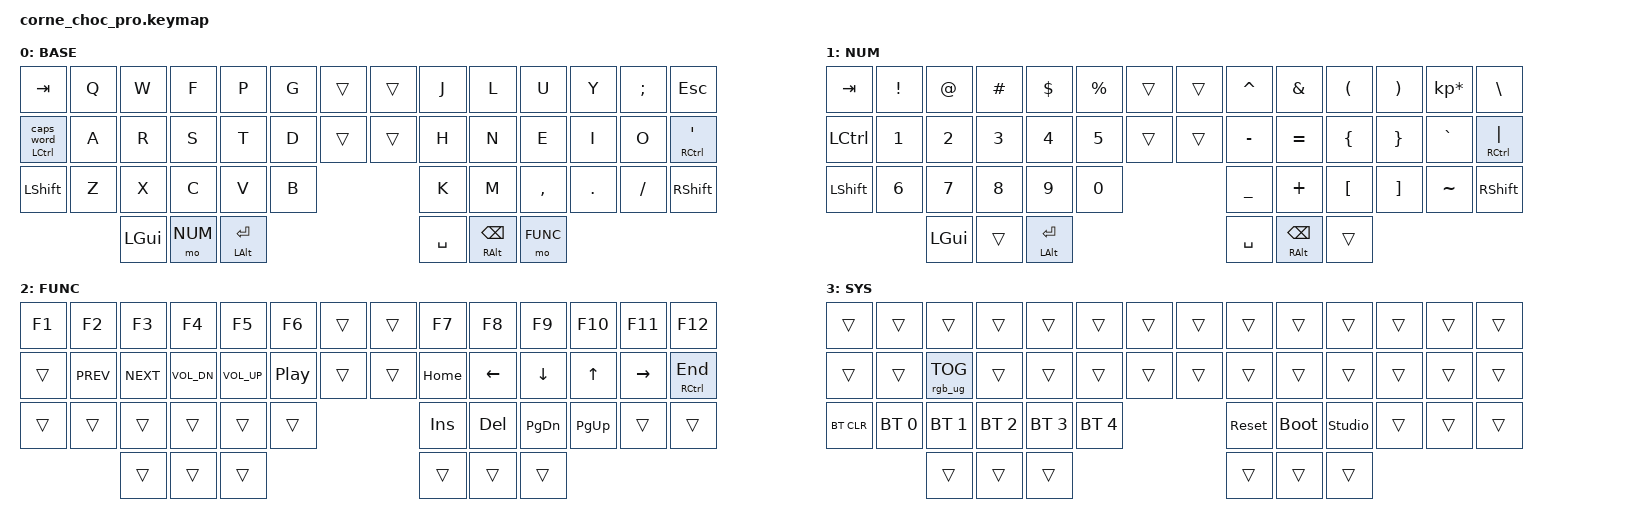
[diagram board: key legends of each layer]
/*
 * Copyright (c) 2020 The ZMK Contributors
 *
 * SPDX-License-Identifier: MIT
 */

#include <behaviors.dtsi>
#include <dt-bindings/zmk/keys.h>
#include <dt-bindings/zmk/bt.h>
#include <dt-bindings/zmk/rgb.h>

#define BASE 0
#define NUM 1
#define FUNC 2
#define SYS 3

/ {
        conditional_layers {
        compatible = "zmk,conditional-layers";
        tri_layer {
            if-layers = <NUM FUNC>;
            then-layer = <SYS>;
         };
        };

        behaviors {
          tp: tap_preferred {
                compatible = "zmk,behavior-hold-tap";
                label = "TAP_PREFERRED";
                #binding-cells = <2>;
                tapping-term-ms = <220>;
                quick-tap-ms = <150>;
                flavor = "tap-preferred";
                bindings = <&kp>, <&kp>;
                };
         ctrl_caps: ctrl_caps_word {
                compatible = "zmk,behavior-hold-tap";
                #binding-cells = <2>;
                tapping-term-ms = <220>;
                quick-tap-ms = <150>;
                flavor = "tap-preferred";
                bindings = <&kp>, <&caps_word>;
                 }; 
        };
        
        keymap {
                compatible = "zmk,keymap";

                base_layer {
                        label = "BASE";
// -----------------------------------------------------------------------------------------
// |  TAB      |  Q  |  W  |  F  |  P  |    G    | None | None  |    J    |    L     |  U  |  Y  |  ;  |  ESC    |
// | CTRL/CAPS |  A  |  R  |  S  |  T  |    D    | None | None  |    H    |    N     |  E  |  I  |  O  | RCTRL/' |
// | SHFT      |  Z  |  X  |  C  |  V  |    B    |              |    K    |    M     |  ,  |  .  |  /  | RSHFT   |
//                         | GUI | LWR | ALT/ENT |              |   SPC   | ALT/BKSP | RSE |
                        bindings = <
   &kp TAB            &kp Q &kp W &kp F    &kp P   &kp G         &trans  &trans   &kp J        &kp L          &kp U     &kp Y   &kp SEMI    &kp ESC
   &ctrl_caps LCTRL 0 &kp A &kp R &kp S    &kp T   &kp D         &trans  &trans   &kp H        &kp N          &kp E     &kp I   &kp O       &tp RCTRL SQT
   &kp LSHFT          &kp Z &kp X &kp C    &kp V   &kp B                          &kp K        &kp M          &kp COMMA &kp DOT &kp FSLH    &kp RSHFT
                              &kp LGUI &mo NUM &tp LALT RET                   &kp SPACE    &tp RALT BSPC  &mo FUNC
                        >;
                };

                num_layer {
                        label = "NUM";
// -----------------------------------------------------------------------------------------
// |  TAB |  !  |  @  |  #  |  $  |    %    | None | None |    ^    |    &    |  (  |  )  |  *  |      \    |
// | CTRL |  1  |  2  |  3  |  4  |    5    | None | None |    -    |    =    |  {  |  }  |  `  | RCTRL/"|" |
// | SHFT |  6  |  7  |  8  |  9  |    0    |             |    _    |    +    |  [  |  ]  |  ~  |    RSHFT  |
//                    | GUI |     | ALT/ENT |             |   SPC   | ALT/BKSP|     |
                        bindings = <
   &kp TAB   &kp EXCL &kp AT &kp HASH &kp DLLR &kp PRCNT     &trans  &trans  &kp CARET    &kp AMPS       &kp LPAR &kp RPAR &kp KP_MULTIPLY &kp BSLH
   &kp LCTRL &kp N1   &kp N2 &kp N3   &kp N4   &kp N5        &trans  &trans  &kp MINUS    &kp EQUAL      &kp LBRC &kp RBRC &kp GRAVE       &tp RCTRL PIPE
   &kp LSHFT &kp N6   &kp N7 &kp N8   &kp N9   &kp N0                        &kp UNDER    &kp PLUS       &kp LBKT &kp RBKT &kp TILDE       &kp RSHFT
                             &kp LGUI &trans   &tp LALT RET                  &kp SPACE    &tp RALT BSPC  &trans
                        >;
                };

                func_layer {
                        label = "FUNC";
// -----------------------------------------------------------------------------------------
// |   F1  |  F2  |  F3  |  F4   |  F5   | F6         |  None | None  |  F7  |  F8   |   F9  |  F10  |  F11  |  F12        |
// |       | Prev | Next | Vol - | Vol + | Play/Pause |  None | None  | HOME |  LFT  |  DWN  |  UP   |  RGT  |  RCTRL/END  |
// |       |      |      |       |       |            |               | INS  |  DEL  | PG_DN | PG_UP |       |             |
//                       |       |       |            |               |      |       |       |
                        bindings = <
   &kp F1     &kp F2        &kp F3       &kp F4       &kp F5       &kp F6     &trans  &trans   &kp F7   &kp F8   &kp F9    &kp F10   &kp F11   &kp F12
   &trans     &kp C_PREV    &kp C_NEXT   &kp C_VOL_DN &kp C_VOL_UP &kp C_PP   &trans  &trans   &kp HOME &kp LEFT &kp DOWN  &kp UP    &kp RIGHT &tp RCTRL END
   &trans     &trans        &trans       &trans       &trans       &trans                      &kp INS  &kp DEL  &kp PG_DN &kp PG_UP &trans    &trans
                          	         &trans       &trans       &trans                          &trans   &trans   &trans
                        >;
                };

                sys_layer {
                        label = "SYS";
// -----------------------------------------------------------------------------------------
// |       |      |      |       |       |            | None | None  |      |       |       |       |       |       |
// |       |      | RGB  |       |       |            | None | None  |      |       |       |       |       |       |
// | BTCLR | BT0  | BT1  | BT2   | BT3   | BT4        |              |  RST |  BOOT | Unlock|       |       |       |
//                       |       |       |            |              |      |       |       |
                        bindings = <
   &trans     &trans        &trans           &trans       &trans       &trans        &trans  &trans   &trans       &trans        &trans            &trans   &trans   &trans
   &trans     &trans        &rgb_ug RGB_TOG  &trans       &trans       &trans        &trans  &trans   &trans       &trans        &trans            &trans   &trans   &trans
   &bt BT_CLR &bt BT_SEL 0  &bt BT_SEL 1     &bt BT_SEL 2 &bt BT_SEL 3 &bt BT_SEL 4                   &sys_reset   &bootloader   &studio_unlock    &trans   &trans   &trans
                          	         &trans       &trans       &trans                                 &trans   &trans   &trans
                        >;
                };
        };
};
